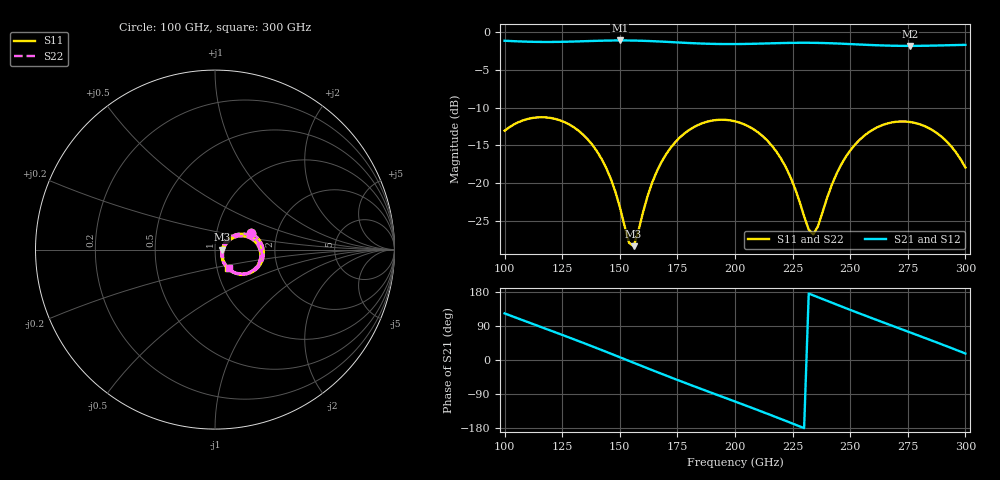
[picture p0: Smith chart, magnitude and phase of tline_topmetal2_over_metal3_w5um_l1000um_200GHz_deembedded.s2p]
! Created with skrf 2.2.0 (http://scikit-rf.org).
# GHz S DB R 50.0
! Port[1] = P1
! Port[2] = P2
!freq dBS11 angS11 dBS21 angS21 dBS12 angS12 dBS22 angS22
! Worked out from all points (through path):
!   101 points, 100 GHz to 300 GHz, reference 50 ohm
!   highest |S21| = -1.10 dB at 150 GHz (marker M1); lowest = -1.8 dB at 276 GHz (marker M2)
!   group delay of S21, straight-line fit = 6.49 ps
!   lowest |S11| = -28.3 dB at 156 GHz (marker M3), VSWR 1.08, Z = 54 + j0.0294 ohm
!   |S11| at or under -10 dB: start of sweep to end of sweep
!   |S22| runs from -28.5 to -11.3 dB; largest |S21 - S12| = 1e-13
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100  -13.05 24.2  -1.14 123.0  -1.14 123.0  -13.05 24.2
116  -11.26 -7.0  -1.30 86.6  -1.30 86.6  -11.27 -7.0
124  -11.67 -22.7  -1.29 68.5  -1.29 68.5  -11.68 -22.7
134  -13.55 -41.6  -1.21 45.5  -1.21 45.5  -13.56 -41.7
144  -17.92 -56.6  -1.12 21.8  -1.12 21.8  -17.94 -56.8
150  -23.13 -54.7  -1.10 7.3  -1.10 7.3  -23.19 -55.1
154  -27.88 -27.7  -1.11 -2.4  -1.11 -2.4  -28.05 -28.0
156  -28.34 0.4  -1.12 -7.3  -1.12 -7.3  -28.53 0.8
162  -21.76 38.4  -1.17 -21.8  -1.17 -21.8  -21.81 39.1
168  -17.25 36.7  -1.25 -36.1  -1.25 -36.1  -17.27 37.2
184  -12.29 10.1  -1.49 -73.3  -1.49 -73.3  -12.30 10.5
200  -11.80 -20.1  -1.58 -109.6  -1.58 -109.6  -11.81 -19.6
218  -15.83 -50.7  -1.46 -151.1  -1.46 -151.1  -15.83 -50.0
226  -20.65 -54.9  -1.42 -170.2  -1.42 -170.2  -20.61 -53.8
234  -26.76 -8.4  -1.42 170.6  -1.42 170.6  -26.53 -7.9
244  -18.80 32.4  -1.50 146.5  -1.50 146.5  -18.77 32.4
250  -15.67 26.9  -1.58 132.3  -1.58 132.3  -15.66 27.1
258  -13.27 14.3  -1.69 113.7  -1.69 113.7  -13.27 14.7
268  -11.96 -3.7  -1.79 90.9  -1.79 90.9  -11.96 -3.1
276  -11.90 -18.4  -1.82 72.8  -1.82 72.8  -11.90 -17.6
290  -13.93 -43.0  -1.75 40.7  -1.75 40.7  -13.92 -41.6
300  -17.92 -55.1  -1.69 17.2  -1.69 17.2  -17.82 -52.7
